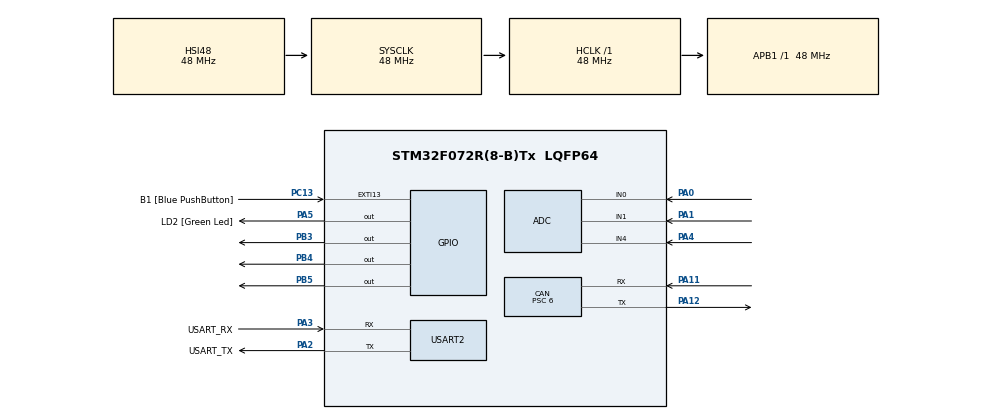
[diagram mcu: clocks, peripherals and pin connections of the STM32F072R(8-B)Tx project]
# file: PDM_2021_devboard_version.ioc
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ADC.ContinuousConvMode=ENABLE
ADC.DMAContinuousRequests=ENABLE
ADC.EOCSelection=ADC_EOC_SEQ_CONV
ADC.Overrun=ADC_OVR_DATA_OVERWRITTEN
CAN.BS1=CAN_BS1_6TQ
CAN.CalculateTimeQuantum=125.0
CAN.Prescaler=6
Dma.ADC.0.Direction=DMA_PERIPH_TO_MEMORY
Dma.ADC.0.Instance=DMA1_Channel1
Dma.ADC.0.MemDataAlignment=DMA_MDATAALIGN_HALFWORD
Dma.ADC.0.MemInc=DMA_MINC_ENABLE
Dma.ADC.0.Mode=DMA_CIRCULAR
Dma.ADC.0.PeriphDataAlignment=DMA_PDATAALIGN_HALFWORD
Dma.ADC.0.PeriphInc=DMA_PINC_DISABLE
Dma.ADC.0.Priority=DMA_PRIORITY_VERY_HIGH
Dma.Request0=ADC
FREERTOS.Tasks01=Channel_control,40,128,ADC_Channel_Control,Default,NULL,Dynamic,NULL,NULL;CAN_TX_task,32,128,CAN_TX,Default,NULL,Dynamic,NULL,NULL;ADC_scheduler,40,128,ADC_Schedule_loop,Default,NULL,Dynamic,NULL,NULL;CAN_rx_task,32,128,CAN_rx_start,Default,NULL,Dynamic,NULL,NULL
FREERTOS.configLIBRARY_LOWEST_INTERRUPT_PRIORITY=3
FREERTOS.configLIBRARY_MAX_SYSCALL_INTERRUPT_PRIORITY=3
Mcu.Family=STM32F0
Mcu.Name=STM32F072R(8-B)Tx
Mcu.Package=LQFP64
NVIC.DMA1_Channel1_IRQn=true\:3\:0\:true\:false\:true\:true\:false\:true
NVIC.TIM14_IRQn=true\:0\:0\:false\:false\:true\:false\:false\:true
NVIC.TimeBase=TIM14_IRQn
NVIC.TimeBaseIP=TIM14
PA0.Mode=IN0
PA0.Signal=ADC_IN0
PA1.Mode=IN1
PA1.Signal=ADC_IN1
PA11.Mode=Master
PA11.Signal=CAN_RX
PA12.Mode=Master
PA12.Signal=CAN_TX
PA13.GPIO_Label=TMS
PA13.Mode=Serial_Wire
PA13.Signal=SYS_SWDIO
PA14.GPIO_Label=TCK
PA14.Mode=Serial_Wire
PA14.Signal=SYS_SWCLK
PA2.GPIO_Label=USART_TX
PA2.GPIO_Mode=GPIO_MODE_AF_PP
PA2.GPIO_PuPd=GPIO_NOPULL
PA2.GPIO_Speed=GPIO_SPEED_FREQ_LOW
PA2.Mode=Asynchronous
PA2.Signal=USART2_TX
PA3.GPIO_Label=USART_RX
PA3.GPIO_Mode=GPIO_MODE_AF_PP
PA3.GPIO_PuPd=GPIO_NOPULL
PA3.GPIO_Speed=GPIO_SPEED_FREQ_LOW
PA3.Mode=Asynchronous
PA3.Signal=USART2_RX
PA4.Mode=IN4
PA4.Signal=ADC_IN4
PA5.GPIO_Label=LD2 [Green Led]
PA5.GPIO_Mode=GPIO_MODE_OUTPUT_PP
PA5.GPIO_PuPd=GPIO_NOPULL
PA5.GPIO_Speed=GPIO_SPEED_FREQ_LOW
PA5.Signal=GPIO_Output
PB3.Signal=GPIO_Output
PB4.Signal=GPIO_Output
PB5.Signal=GPIO_Output
PC13.GPIO_Label=B1 [Blue PushButton]
PC13.GPIO_ModeDefaultEXTI=GPIO_MODE_IT_FALLING
PC13.Signal=GPXTI13
PC14-OSC32_IN.Mode=LSE-External-Oscillator
PC14-OSC32_IN.Signal=RCC_OSC32_IN
PC15-OSC32_OUT.Mode=LSE-External-Oscillator
PC15-OSC32_OUT.Signal=RCC_OSC32_OUT
PF0-OSC_IN.Mode=HSE-External-Clock-Source
PF0-OSC_IN.Signal=RCC_OSC_IN
PF1-OSC_OUT.Signal=RCC_OSC_OUT
ProjectManager.HeapSize=0x200
ProjectManager.StackSize=0x400
ProjectManager.TargetToolchain=STM32CubeIDE
RCC.AHBFreq_Value=48000000
RCC.APB1Freq_Value=48000000
RCC.APB1TimFreq_Value=48000000
RCC.FLatency-AdvancedSettings=FLASH_LATENCY_1
RCC.HCLKFreq_Value=48000000
RCC.PLLDivider=RCC_PREDIV_DIV2
RCC.PLLMUL=RCC_PLL_MUL12
RCC.PREFETCH_ENABLE-AdvancedSettings=1
RCC.SYSCLKFreq_VALUE=48000000
RCC.SYSCLKSource=RCC_SYSCLKSOURCE_HSI48
TIM16.AutoReloadPreload=TIM_AUTORELOAD_PRELOAD_DISABLE
TIM16.Period=65535
TIM16.Prescaler=48
TIM17.AutoReloadPreload=TIM_AUTORELOAD_PRELOAD_DISABLE
TIM17.Period=65535
TIM17.Prescaler=48000
USART2.VirtualMode=VM_ASYNC
USART2.VirtualMode-Asynchronous=VM_ASYNC
VP_FREERTOS_VS_CMSIS_V2.Mode=CMSIS_V2
VP_SYS_VS_tim14.Mode=TIM14
VP_TIM16_VS_ClockSourceINT.Mode=Enable_Timer
VP_TIM17_VS_ClockSourceINT.Mode=Enable_Timer
board=NUCLEO-F072RB

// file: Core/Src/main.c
/* USER CODE BEGIN Header */
/**
  ******************************************************************************
  * @file           : main.c
  * @brief          : Main program body
  ******************************************************************************
  * @attention
  *
  * <h2><center>&copy; Copyright (c) 2020 STMicroelectronics.
  * All rights reserved.</center></h2>
  *
  * This software component is licensed by ST under BSD 3-Clause license,
  * the "License"; You may not use this file except in compliance with the
  * License. You may obtain a copy of the License at:
  *                        opensource.org/licenses/BSD-3-Clause
  *
  ******************************************************************************
  */
/* USER CODE END Header */

#include "main.h"
#include "cmsis_os.h"

/* USER CODE BEGIN Includes */
#include "GO4_PDM_2020.h"
/* USER CODE END Includes */

ADC_HandleTypeDef hadc;
DMA_HandleTypeDef hdma_adc;

CAN_HandleTypeDef hcan;

TIM_HandleTypeDef htim16;
TIM_HandleTypeDef htim17;

UART_HandleTypeDef huart2;

/* Definitions for Channel_control */
osThreadId_t Channel_controlHandle;
const osThreadAttr_t Channel_control_attributes = {
  .name = "Channel_control",
  .priority = (osPriority_t) osPriorityHigh,
  .stack_size = 128 * 4
};
/* Definitions for CAN_TX_task */
osThreadId_t CAN_TX_taskHandle;
const osThreadAttr_t CAN_TX_task_attributes = {
  .name = "CAN_TX_task",
  .priority = (osPriority_t) osPriorityAboveNormal,
  .stack_size = 128 * 4
};
/* Definitions for ADC_scheduler */
osThreadId_t ADC_schedulerHandle;
const osThreadAttr_t ADC_scheduler_attributes = {
  .name = "ADC_scheduler",
  .priority = (osPriority_t) osPriorityHigh,
  .stack_size = 128 * 4
};
/* Definitions for CAN_rx_task */
osThreadId_t CAN_rx_taskHandle;
const osThreadAttr_t CAN_rx_task_attributes = {
  .name = "CAN_rx_task",
  .priority = (osPriority_t) osPriorityAboveNormal,
  .stack_size = 128 * 4
};

void SystemClock_Config(void);
static void MX_GPIO_Init(void);
static void MX_DMA_Init(void);
static void MX_USART2_UART_Init(void);
static void MX_ADC_Init(void);
static void MX_CAN_Init(void);
static void MX_TIM16_Init(void);
static void MX_TIM17_Init(void);
void ADC_Channel_Control(void *argument);
void CAN_TX(void *argument);
void ADC_Schedule_loop(void *argument);
void CAN_rx_start(void *argument);

int main(void)
{

  /* MCU Configuration--------------------------------------------------------*/

  /* Reset of all peripherals, Initializes the Flash interface and the Systick. */
  HAL_Init();

  /* Configure the system clock */
  SystemClock_Config();

  /* Initialize all configured peripherals */
  MX_GPIO_Init();
  MX_DMA_Init();
  MX_USART2_UART_Init();
  MX_ADC_Init();
  MX_CAN_Init();
  MX_TIM16_Init();
  MX_TIM17_Init();
  /* USER CODE BEGIN 2 */

  // **** ALL CONFIG CALLS HERE***************************************
  PDM_Init();

  /* USER CODE END 2 */

  /* Init scheduler */
  osKernelInitialize();

  /* Create the thread(s) */
  /* creation of Channel_control */
  Channel_controlHandle = osThreadNew(ADC_Channel_Control, NULL, &Channel_control_attributes);

  /* creation of CAN_TX_task */
  CAN_TX_taskHandle = osThreadNew(CAN_TX, NULL, &CAN_TX_task_attributes);

  /* creation of ADC_scheduler */
  ADC_schedulerHandle = osThreadNew(ADC_Schedule_loop, NULL, &ADC_scheduler_attributes);

  /* creation of CAN_rx_task */
  CAN_rx_taskHandle = osThreadNew(CAN_rx_start, NULL, &CAN_rx_task_attributes);

  /* Start scheduler */
  osKernelStart();

  /* We should never get here as control is now taken by the scheduler */
  /* Infinite loop */
  /* USER CODE BEGIN WHILE */
  while (1)
  {
	  Error_Handler();
    /* USER CODE END WHILE */

  }
}

void SystemClock_Config(void)
{
  RCC_OscInitTypeDef RCC_OscInitStruct = {0};
  RCC_ClkInitTypeDef RCC_ClkInitStruct = {0};
  RCC_PeriphCLKInitTypeDef PeriphClkInit = {0};

  /** Initializes the CPU, AHB and APB busses clocks
  */
  RCC_OscInitStruct.OscillatorType = RCC_OSCILLATORTYPE_HSI14|RCC_OSCILLATORTYPE_HSI48;
  RCC_OscInitStruct.HSI48State = RCC_HSI48_ON;
  RCC_OscInitStruct.HSI14State = RCC_HSI14_ON;
  RCC_OscInitStruct.HSI14CalibrationValue = 16;
  RCC_OscInitStruct.PLL.PLLState = RCC_PLL_NONE;
  if (HAL_RCC_OscConfig(&RCC_OscInitStruct) != HAL_OK)
  {
    Error_Handler();
  }
  /** Initializes the CPU, AHB and APB busses clocks
  */
  RCC_ClkInitStruct.ClockType = RCC_CLOCKTYPE_HCLK|RCC_CLOCKTYPE_SYSCLK
                              |RCC_CLOCKTYPE_PCLK1;
  RCC_ClkInitStruct.SYSCLKSource = RCC_SYSCLKSOURCE_HSI48;
  RCC_ClkInitStruct.AHBCLKDivider = RCC_SYSCLK_DIV1;
  RCC_ClkInitStruct.APB1CLKDivider = RCC_HCLK_DIV1;

  if (HAL_RCC_ClockConfig(&RCC_ClkInitStruct, FLASH_LATENCY_1) != HAL_OK)
  {
    Error_Handler();
  }
  PeriphClkInit.PeriphClockSelection = RCC_PERIPHCLK_USART2;
  PeriphClkInit.Usart2ClockSelection = RCC_USART2CLKSOURCE_PCLK1;
  if (HAL_RCCEx_PeriphCLKConfig(&PeriphClkInit) != HAL_OK)
  {
    Error_Handler();
  }
}

static void MX_ADC_Init(void)
{

  ADC_ChannelConfTypeDef sConfig = {0};

  /** Configure the global features of the ADC (Clock, Resolution, Data Alignment and number of conversion)
  */
  hadc.Instance = ADC1;
  hadc.Init.ClockPrescaler = ADC_CLOCK_ASYNC_DIV1;
  hadc.Init.Resolution = ADC_RESOLUTION_12B;
  hadc.Init.DataAlign = ADC_DATAALIGN_RIGHT;
  hadc.Init.ScanConvMode = ADC_SCAN_DIRECTION_FORWARD;
  hadc.Init.EOCSelection = ADC_EOC_SEQ_CONV;
  hadc.Init.LowPowerAutoWait = DISABLE;
  hadc.Init.LowPowerAutoPowerOff = DISABLE;
  hadc.Init.ContinuousConvMode = ENABLE;
  hadc.Init.DiscontinuousConvMode = DISABLE;
  hadc.Init.ExternalTrigConv = ADC_SOFTWARE_START;
  hadc.Init.ExternalTrigConvEdge = ADC_EXTERNALTRIGCONVEDGE_NONE;
  hadc.Init.DMAContinuousRequests = ENABLE;
  hadc.Init.Overrun = ADC_OVR_DATA_OVERWRITTEN;
  if (HAL_ADC_Init(&hadc) != HAL_OK)
  {
    Error_Handler();
  }
  /** Configure for the selected ADC regular channel to be converted.
  */
  sConfig.Channel = ADC_CHANNEL_0;
  sConfig.Rank = ADC_RANK_CHANNEL_NUMBER;
  sConfig.SamplingTime = ADC_SAMPLETIME_1CYCLE_5;
  if (HAL_ADC_ConfigChannel(&hadc, &sConfig) != HAL_OK)
  {
    Error_Handler();
  }
  /** Configure for the selected ADC regular channel to be converted.
  */
  sConfig.Channel = ADC_CHANNEL_1;
  if (HAL_ADC_ConfigChannel(&hadc, &sConfig) != HAL_OK)
  {
    Error_Handler();
  }
  /** Configure for the selected ADC regular channel to be converted.
  */
  sConfig.Channel = ADC_CHANNEL_4;
  if (HAL_ADC_ConfigChannel(&hadc, &sConfig) != HAL_OK)
  {
    Error_Handler();
  }

}

static void MX_CAN_Init(void)
{

  hcan.Instance = CAN;
  hcan.Init.Prescaler = 6;
  hcan.Init.Mode = CAN_MODE_NORMAL;
  hcan.Init.SyncJumpWidth = CAN_SJW_1TQ;
  hcan.Init.TimeSeg1 = CAN_BS1_6TQ;
  hcan.Init.TimeSeg2 = CAN_BS2_1TQ;
  hcan.Init.TimeTriggeredMode = DISABLE;
  hcan.Init.AutoBusOff = DISABLE;
  hcan.Init.AutoWakeUp = DISABLE;
  hcan.Init.AutoRetransmission = DISABLE;
  hcan.Init.ReceiveFifoLocked = DISABLE;
  hcan.Init.TransmitFifoPriority = DISABLE;
  if (HAL_CAN_Init(&hcan) != HAL_OK)
  {
    Error_Handler();
  }

}

static void MX_TIM16_Init(void)
{

  htim16.Instance = TIM16;
  htim16.Init.Prescaler = 48;
  htim16.Init.CounterMode = TIM_COUNTERMODE_UP;
  htim16.Init.Period = 65535;
  htim16.Init.ClockDivision = TIM_CLOCKDIVISION_DIV1;
  htim16.Init.RepetitionCounter = 0;
  htim16.Init.AutoReloadPreload = TIM_AUTORELOAD_PRELOAD_DISABLE;
  if (HAL_TIM_Base_Init(&htim16) != HAL_OK)
  {
    Error_Handler();
  }

}

static void MX_TIM17_Init(void)
{

  htim17.Instance = TIM17;
  htim17.Init.Prescaler = 48000;
  htim17.Init.CounterMode = TIM_COUNTERMODE_UP;
  htim17.Init.Period = 65535;
  htim17.Init.ClockDivision = TIM_CLOCKDIVISION_DIV1;
  htim17.Init.RepetitionCounter = 0;
  htim17.Init.AutoReloadPreload = TIM_AUTORELOAD_PRELOAD_DISABLE;
  if (HAL_TIM_Base_Init(&htim17) != HAL_OK)
  {
    Error_Handler();
  }

}

static void MX_USART2_UART_Init(void)
{

  huart2.Instance = USART2;
  huart2.Init.BaudRate = 38400;
  huart2.Init.WordLength = UART_WORDLENGTH_8B;
  huart2.Init.StopBits = UART_STOPBITS_1;
  huart2.Init.Parity = UART_PARITY_NONE;
  huart2.Init.Mode = UART_MODE_TX_RX;
  huart2.Init.HwFlowCtl = UART_HWCONTROL_NONE;
  huart2.Init.OverSampling = UART_OVERSAMPLING_16;
  huart2.Init.OneBitSampling = UART_ONE_BIT_SAMPLE_DISABLE;
  huart2.AdvancedInit.AdvFeatureInit = UART_ADVFEATURE_NO_INIT;
  if (HAL_UART_Init(&huart2) != HAL_OK)
  {
    Error_Handler();
  }

}

static void MX_DMA_Init(void)
{

  /* DMA controller clock enable */
  __HAL_RCC_DMA1_CLK_ENABLE();

  /* DMA interrupt init */
  /* DMA1_Channel1_IRQn interrupt configuration */
  HAL_NVIC_SetPriority(DMA1_Channel1_IRQn, 3, 0);
  HAL_NVIC_EnableIRQ(DMA1_Channel1_IRQn);

}

static void MX_GPIO_Init(void)
{
  GPIO_InitTypeDef GPIO_InitStruct = {0};

  /* GPIO Ports Clock Enable */
  __HAL_RCC_GPIOC_CLK_ENABLE();
  __HAL_RCC_GPIOF_CLK_ENABLE();
  __HAL_RCC_GPIOA_CLK_ENABLE();
  __HAL_RCC_GPIOB_CLK_ENABLE();

  /*Configure GPIO pin Output Level */
  HAL_GPIO_WritePin(LD2_GPIO_Port, LD2_Pin, GPIO_PIN_RESET);

  /*Configure GPIO pin Output Level */
  HAL_GPIO_WritePin(GPIOB, GPIO_PIN_3|GPIO_PIN_4|GPIO_PIN_5, GPIO_PIN_RESET);

  /*Configure GPIO pin : B1_Pin */
  GPIO_InitStruct.Pin = B1_Pin;
  GPIO_InitStruct.Mode = GPIO_MODE_IT_FALLING;
  GPIO_InitStruct.Pull = GPIO_NOPULL;
  HAL_GPIO_Init(B1_GPIO_Port, &GPIO_InitStruct);

  /*Configure GPIO pin : LD2_Pin */
  GPIO_InitStruct.Pin = LD2_Pin;
  GPIO_InitStruct.Mode = GPIO_MODE_OUTPUT_PP;
  GPIO_InitStruct.Pull = GPIO_NOPULL;
  GPIO_InitStruct.Speed = GPIO_SPEED_FREQ_LOW;
  HAL_GPIO_Init(LD2_GPIO_Port, &GPIO_InitStruct);

  /*Configure GPIO pins : PB3 PB4 PB5 */
  GPIO_InitStruct.Pin = GPIO_PIN_3|GPIO_PIN_4|GPIO_PIN_5;
  GPIO_InitStruct.Mode = GPIO_MODE_OUTPUT_PP;
  GPIO_InitStruct.Pull = GPIO_NOPULL;
  GPIO_InitStruct.Speed = GPIO_SPEED_FREQ_LOW;
  HAL_GPIO_Init(GPIOB, &GPIO_InitStruct);

}

void ADC_Channel_Control(void *argument)
{
  /* USER CODE BEGIN 5 */
  /* Infinite loop */
  for(;;)
  {
	Current_Control_Loop();
    Error_Handler();
  }
  /* USER CODE END 5 */
}

void CAN_TX(void *argument)
{
  /* USER CODE BEGIN CAN_TX */
  /* Infinite loop */
  for(;;)
  {
      CAN_tx();
      Error_Handler();
  }
  /* USER CODE END CAN_TX */
}

void ADC_Schedule_loop(void *argument)
{
  /* USER CODE BEGIN ADC_Schedule_loop */
  /* Infinite loop */
  for(;;)
  {
    Schedule_ADC();
    Error_Handler();
  }
  /* USER CODE END ADC_Schedule_loop */
}

void CAN_rx_start(void *argument)
{
  /* USER CODE BEGIN CAN_rx_start */
  /* Infinite loop */
  for(;;)
  {
    CAN_rx();
    Error_Handler();
  }
  /* USER CODE END CAN_rx_start */
}

 /**
  * @brief  Period elapsed callback in non blocking mode
  * @note   This function is called  when TIM14 interrupt took place, inside
  * HAL_TIM_IRQHandler(). It makes a direct call to HAL_IncTick() to increment
  * a global variable "uwTick" used as application time base.
  * @param  htim : TIM handle
  * @retval None
  */
void HAL_TIM_PeriodElapsedCallback(TIM_HandleTypeDef *htim)
{
  if (htim->Instance == TIM14) {
    HAL_IncTick();
  }
}

void Error_Handler(void)
{
  /* USER CODE BEGIN Error_Handler_Debug */
  /* User can add his own implementation to report the HAL error return state */

	HAL_ADC_Stop_DMA(&hadc);
	// Infinitely flash nucelo LD2 in event of an error
	while (1) {
		HAL_GPIO_TogglePin(GPIOA, GPIO_PIN_5);
		HAL_Delay(200);
		HAL_GPIO_TogglePin(GPIOA, GPIO_PIN_5);
		HAL_Delay(200);
	}

  /* USER CODE END Error_Handler_Debug */
}

/************************ (C) COPYRIGHT STMicroelectronics *****END OF FILE****/
